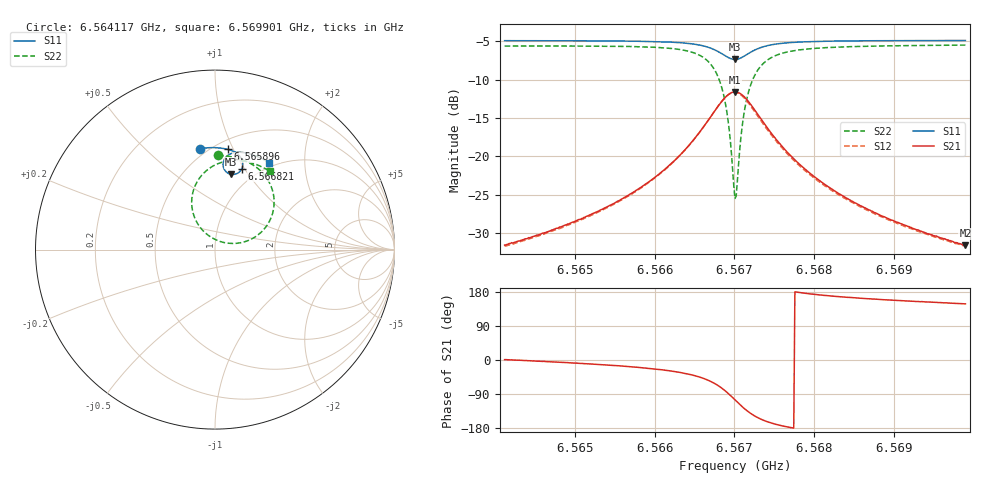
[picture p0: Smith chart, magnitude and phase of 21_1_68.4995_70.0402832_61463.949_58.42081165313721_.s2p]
#  HZ  S  RI  R  50.00
! Rohde & Schwarz Vector Network Analyzer
! Rohde-Schwarz,ZNB20-2Port,1311601062101988,3.16
! Created: UTC 3/20/2024, 5:04:40 PM
! freq[Hz]  re:S11  im:S11  re:S21  im:S21  re:S12  im:S12  re:S22  im:S22
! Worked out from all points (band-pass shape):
!   401 points, 6.564117 GHz to 6.569901 GHz, reference 50 ohm
!   highest |S21| = -11.59 dB at 6.567009 GHz (marker M1); lowest = -31.6 dB at 6.569901 GHz (marker M2)
!   |S21| within 3 dB of the highest: 6.56672 GHz to 6.567299 GHz (579 kHz wide, 0.00882 % of centre)
!   lowest |S11| = -7.4 dB at 6.567009 GHz (marker M3), VSWR 2.50, Z = 40.5 + j41.7 ohm
!   |S11| at or under -10 dB: nowhere
!   |S22| runs from -25.5 to -5.5 dB; largest |S21 - S12| = 0.012
!   S11 on the Smith chart (normalised r, x): 6.564117 GHz: 0.45, +0.76; 6.565896 GHz: 0.58, +0.95; 6.566821 GHz: 0.84, +0.97; 6.569901 GHz: 0.94, +1.34
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6.5641175e9  -0.0812 0.5632  0.0263 0.000434  0.0259 4.51e-06  0.0176 0.5246
6.5650862e9  -0.00296 0.5679  0.0388 -0.00616  0.0381 -0.00684  0.1066 0.5141
6.5658959e9  0.0701 0.5587  0.0618 -0.0243  0.0608 -0.025  0.2038 0.4762
6.566055e9  0.0863 0.5537  0.0694 -0.0324  0.0683 -0.0331  0.2284 0.4599
6.5663731e9  0.1216 0.5358  0.0894 -0.0625  0.088 -0.0638  0.2869 0.4001
6.56659e9  0.146 0.5088  0.1024 -0.109  0.1002 -0.1111  0.3251 0.3105
6.5667201e9  0.1548 0.4807  0.0985 -0.1584  0.0945 -0.161  0.3243 0.2165
6.5668213e9  0.1499 0.4514  0.0723 -0.2086  0.066 -0.2113  0.28 0.122
6.5669081e9  0.1295 0.4273  0.0207 -0.2476  0.0112 -0.2483  0.1865 0.0512
6.566937e9  0.119 0.4222  -0.00302 -0.2555  -0.0133 -0.2547  0.1434 0.0383
6.5669948e9  0.0947 0.4186  -0.0559 -0.2571  -0.0666 -0.2528  0.0496 0.0395
6.5670093e9  0.0885 0.4196  -0.0693 -0.2542  -0.0795 -0.249  0.0264 0.046
6.5670382e9  0.0766 0.4235  -0.0947 -0.2446  -0.1042 -0.2376  -0.017 0.0658
6.567096e9  0.0575 0.4387  -0.136 -0.2129  -0.1428 -0.2034  -0.0846 0.1263
6.5671394e9  0.0488 0.4533  -0.1562 -0.1831  -0.1602 -0.173  -0.1145 0.1809
6.5671973e9  0.0449 0.4735  -0.1688 -0.1431  -0.1701 -0.1334  -0.1297 0.2521
6.5672696e9  0.0489 0.4954  -0.1687 -0.1004  -0.1676 -0.0922  -0.1212 0.3262
6.5675298e9  0.0879 0.5344  -0.1263 -0.0219  -0.1236 -0.0182  -0.0254 0.4567
6.5679781e9  0.1466 0.5421  -0.075 0.00801  -0.0733 0.00914  0.0951 0.4965
6.5684407e9  0.1918 0.5336  -0.0505 0.0132  -0.0494 0.014  0.1681 0.4919
6.5689468e9  0.2337 0.5192  -0.0362 0.0143  -0.0355 0.0146  0.2244 0.4763
6.5699011e9  0.3026 0.484  -0.0223 0.0139  -0.0219 0.0139  0.3042 0.4372
